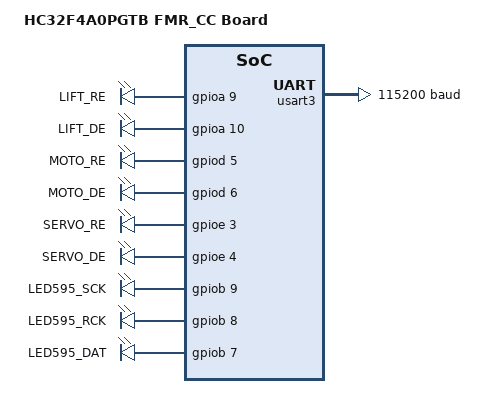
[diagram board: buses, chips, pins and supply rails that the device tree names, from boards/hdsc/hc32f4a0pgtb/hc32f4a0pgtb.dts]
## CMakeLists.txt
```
# SPDX-License-Identifier: Apache-2.0

cmake_minimum_required(VERSION 3.20.0)

# Point Zephyr to our out-of-tree SoC, board, and DTS definitions
list(APPEND SOC_ROOT ${CMAKE_CURRENT_SOURCE_DIR})
list(APPEND BOARD_ROOT ${CMAKE_CURRENT_SOURCE_DIR})
list(APPEND DTS_ROOT ${CMAKE_CURRENT_SOURCE_DIR})

find_package(Zephyr REQUIRED HINTS $ENV{ZEPHYR_BASE})
project(hc32f_demo)

if(CONFIG_BOARD_HC32F460PETB)
	# F460 demo: LED blink + buttons + shell driver tests
	target_sources(app PRIVATE src/main.c)
	target_sources(app PRIVATE src/driver_tests.c)
	target_sources_ifdef(CONFIG_SHELL app PRIVATE src/shell_cmds.c)
elseif(CONFIG_BOARD_HC32F4A0PGTB)
	# F4A0 smoke test: printk over USART3 console
	target_sources(app PRIVATE src/main_f4a0_smoke.c)
endif()
```

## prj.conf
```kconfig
# SPDX-License-Identifier: Apache-2.0

CONFIG_GPIO=y
CONFIG_SERIAL=y
CONFIG_CONSOLE=y
CONFIG_UART_CONSOLE=y
CONFIG_PRINTK=y
CONFIG_LOG=y

# HC32F460 specific
CONFIG_ARM_MPU=n
CONFIG_HW_STACK_PROTECTION=n
CONFIG_DYNAMIC_INTERRUPTS=y

CONFIG_MAIN_STACK_SIZE=2048
CONFIG_PM=y
CONFIG_SYSTEM_TIMER_LPM_COMPANION_HOOKS=y

# UART interrupt mode (required by shell)
CONFIG_UART_HC32_INTERRUPT=y

# Input subsystem for gpio-keys button
CONFIG_INPUT=y

# Zephyr Shell
CONFIG_SHELL=y
CONFIG_SHELL_BACKEND_SERIAL=y
```

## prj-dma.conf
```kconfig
# SPDX-License-Identifier: Apache-2.0
# DMA mode overlay — use with: west build -b hc32f460petb . -- -DOVERLAY_CONFIG=prj-dma.conf

CONFIG_GPIO=y
CONFIG_SERIAL=y
CONFIG_CONSOLE=y
CONFIG_UART_CONSOLE=y
CONFIG_PRINTK=y
CONFIG_LOG=y

# HC32F460 specific
CONFIG_ARM_MPU=n
CONFIG_HW_STACK_PROTECTION=n
CONFIG_DYNAMIC_INTERRUPTS=y

CONFIG_MAIN_STACK_SIZE=2048
CONFIG_PM=y
CONFIG_SYSTEM_TIMER_LPM_COMPANION_HOOKS=y

# UART DMA mode (mutually exclusive with interrupt mode)
CONFIG_UART_HC32_DMA=y

# Input subsystem for gpio-keys button
CONFIG_INPUT=y

# Zephyr Shell (async backend for DMA)
CONFIG_SHELL=y
CONFIG_SHELL_BACKEND_SERIAL=y
CONFIG_SHELL_ASYNC_API=y
```

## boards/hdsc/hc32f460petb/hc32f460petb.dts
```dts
/*
 * SPDX-License-Identifier: Apache-2.0
 *
 * HC32F460PETB board devicetree
 *
 * Hardware:
 *   LED3: PD10 (active-low)
 *   LED4: PE15 (active-low)
 *   BTN1: PE2  (active-low, internal pull-up)
 *   USART1: PA9(TX)/PA10(RX), 115200, DAPLink VCP
 */

/dts-v1/;
#include <arm/hdsc/hc32f460.dtsi>
#include <zephyr/dt-bindings/input/input-event-codes.h>
#include <zephyr/dt-bindings/pinctrl/hc32-pinctrl.h>

/ {
	model = "HC32F460PETB custom board";
	compatible = "hdsc,hc32f460petb";

	chosen {
		zephyr,console = &usart1;
		zephyr,shell-uart = &usart1;
		zephyr,sram = &sram0;
		zephyr,flash = &flash0;
	};

	leds: leds {
		compatible = "gpio-leds";

		led3: led_3 {
			gpios = <&gpiod 10 GPIO_ACTIVE_LOW>;
			label = "LED3";
		};

		led4: led_4 {
			gpios = <&gpioe 15 GPIO_ACTIVE_LOW>;
			label = "LED4";
		};
	};

	gpio_keys {
		compatible = "gpio-keys";

		btn1: button_1 {
			gpios = <&gpioe 2 (GPIO_ACTIVE_LOW | GPIO_PULL_UP)>;
			label = "BTN1";
			zephyr,code = <INPUT_KEY_0>;
		};
	};

	aliases {
		led0 = &led3;
		led1 = &led4;
		sw0 = &btn1;
		counter0 = &tmra1_counter;
		watchdog0 = &wdt0;
		watchdog1 = &swdt0;
		wwdg0 = &wdt0;
		iwdg0 = &swdt0;
	};
};

&pinctrl {
	usart1_default: usart1_default {
		group1 {
			pinmux = <HC32_PINMUX(HC32_PORT_A, 9, HC32_FUNC_USART1_TX)>,
				 <HC32_PINMUX(HC32_PORT_A, 10, HC32_FUNC_USART1_RX)>;
			bias-pull-up;
		};
	};

	usart1_sleep: usart1_sleep {
		group1 {
			pinmux = <HC32_PINMUX(HC32_PORT_A, 9, HC32_FUNC_GPIO)>,
				 <HC32_PINMUX(HC32_PORT_A, 10, HC32_FUNC_GPIO)>;
			bias-disable;
		};
	};
};

&gpioa {
	status = "okay";
};

&gpiod {
	status = "okay";
};

&gpioe {
	status = "okay";
};

&usart1 {
	current-speed = <115200>;
	pinctrl-0 = <&usart1_default>;
	pinctrl-1 = <&usart1_sleep>;
	pinctrl-names = "default", "sleep";
	status = "okay";
};

&tmra1_counter {
	status = "okay";
};

&wdt0 {
	status = "okay";
};

&swdt0 {
	reset-on-timeout;
	run-in-sleep;
	status = "okay";
};
```

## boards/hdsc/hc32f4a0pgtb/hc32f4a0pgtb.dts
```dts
/*
 * SPDX-License-Identifier: Apache-2.0
 *
 * HC32F4A0PGTB FMR_CC Control Board
 *
 * Hardware map (from FMR_CC src/io.c):
 *   USART1 IMU    : PD10(TX) PD11(RX)
 *   USART2 WBUS   : PD9(TX)  PD8(RX)   100k 8E2 inverted SBUS
 *   USART3 Debug  : PE15(TX) PE14(RX)  console
 *   USART5 Lift485: PA11(TX) PA8(RX)   RE=PA9  DE=PA10
 *   USART6 Motor  : PD7(TX)  PD4(RX)   RE=PD5  DE=PD6
 *   USART7 Servo  : PE5(TX)  PE2(RX)   RE=PE3  DE=PE4
 *   595 LED shift : SCK=PB9  RCK=PB8   DAT=PB7
 *   Battery ADC   : PA0 (ADC1 CH0)
 *   USB HS        : VBUS=PB13 DM=PB14 DP=PB15
 */

/dts-v1/;
#include <arm/hdsc/hc32f4a0.dtsi>
#include <zephyr/dt-bindings/input/input-event-codes.h>
#include <zephyr/dt-bindings/pinctrl/hc32-pinctrl.h>

/ {
	model = "HC32F4A0PGTB FMR_CC Board";
	compatible = "hdsc,hc32f4a0pgtb";

	chosen {
		zephyr,console = &usart3;
		zephyr,shell-uart = &usart3;
		zephyr,sram = &sram0;
		zephyr,flash = &flash0;
	};

	aliases {
		watchdog0 = &wdt0;
		watchdog1 = &swdt0;
	};

	/* RS485 direction-control GPIOs (used by the app via gpio-leds-like
	 * nodes or directly through DT_NODELABEL/GPIO_DT_SPEC_GET).
	 */
	rs485_ctrl: rs485-ctrl {
		compatible = "gpio-leds";

		lift_re: lift_re {
			gpios = <&gpioa 9 GPIO_ACTIVE_HIGH>;
			label = "LIFT_RE";
		};
		lift_de: lift_de {
			gpios = <&gpioa 10 GPIO_ACTIVE_HIGH>;
			label = "LIFT_DE";
		};
		moto_re: moto_re {
			gpios = <&gpiod 5 GPIO_ACTIVE_HIGH>;
			label = "MOTO_RE";
		};
		moto_de: moto_de {
			gpios = <&gpiod 6 GPIO_ACTIVE_HIGH>;
			label = "MOTO_DE";
		};
		servo_re: servo_re {
			gpios = <&gpioe 3 GPIO_ACTIVE_HIGH>;
			label = "SERVO_RE";
		};
		servo_de: servo_de {
			gpios = <&gpioe 4 GPIO_ACTIVE_HIGH>;
			label = "SERVO_DE";
		};
	};

	/* 74HC595 LED shift-register: SCK=PB9, RCK=PB8, DAT=PB7 */
	led_595: led-595 {
		compatible = "gpio-leds";

		led_sck: led_sck {
			gpios = <&gpiob 9 GPIO_ACTIVE_HIGH>;
			label = "LED595_SCK";
		};
		led_rck: led_rck {
			gpios = <&gpiob 8 GPIO_ACTIVE_HIGH>;
			label = "LED595_RCK";
		};
		led_dat: led_dat {
			gpios = <&gpiob 7 GPIO_ACTIVE_HIGH>;
			label = "LED595_DAT";
		};
	};
};

&pinctrl {
	/* USART3 - Debug console: PE15 TX, PE14 RX */
	usart3_default: usart3_default {
		group1 {
			pinmux = <HC32_PINMUX(HC32_PORT_E, 15, HC32_FUNC_USART3_TX)>,
				 <HC32_PINMUX(HC32_PORT_E, 14, HC32_FUNC_USART3_RX)>;
			bias-pull-up;
		};
	};

	/* USART1 - IMU: PD10 TX, PD11 RX */
	usart1_default: usart1_default {
		group1 {
			pinmux = <HC32_PINMUX(HC32_PORT_D, 10, HC32_FUNC_USART1_TX)>,
				 <HC32_PINMUX(HC32_PORT_D, 11, HC32_FUNC_USART1_RX)>;
			bias-pull-up;
		};
	};

	/* USART2 - WBUS: PD9 TX, PD8 RX */
	usart2_default: usart2_default {
		group1 {
			pinmux = <HC32_PINMUX(HC32_PORT_D, 9, HC32_FUNC_USART2_TX)>,
				 <HC32_PINMUX(HC32_PORT_D, 8, HC32_FUNC_USART2_RX)>;
			bias-pull-up;
		};
	};

	/* USART5 - 485 Lift: PA11 TX, PA8 RX */
	usart5_default: usart5_default {
		group1 {
			pinmux = <HC32_PINMUX(HC32_PORT_A, 11, HC32_FUNC_USART5_TX)>,
				 <HC32_PINMUX(HC32_PORT_A, 8,  HC32_FUNC_USART5_RX)>;
			bias-pull-up;
		};
	};

	/* USART6 - Motor: PD7 TX, PD4 RX */
	usart6_default: usart6_default {
		group1 {
			pinmux = <HC32_PINMUX(HC32_PORT_D, 7, HC32_FUNC_USART6_TX)>,
				 <HC32_PINMUX(HC32_PORT_D, 4, HC32_FUNC_USART6_RX)>;
			bias-pull-up;
		};
	};

	/* USART7 - Servo: PE5 TX, PE2 RX */
	usart7_default: usart7_default {
		group1 {
			pinmux = <HC32_PINMUX(HC32_PORT_E, 5, HC32_FUNC_USART7_TX)>,
				 <HC32_PINMUX(HC32_PORT_E, 2, HC32_FUNC_USART7_RX)>;
			bias-pull-up;
		};
	};
};

&gpioa { status = "okay"; };
&gpiob { status = "okay"; };
&gpiod { status = "okay"; };
&gpioe { status = "okay"; };

&usart3 {
	current-speed = <115200>;
	pinctrl-0 = <&usart3_default>;
	pinctrl-names = "default";
	status = "okay";
};
```

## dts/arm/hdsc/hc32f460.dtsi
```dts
/*
 * SPDX-License-Identifier: Apache-2.0
 *
 * HC32F460 SoC devicetree include
 *
 * Memory map:
 *   Flash: 0x00000000, 512K
 *   SRAM:  0x1FFF8000, 192K (188K general + 4K ret_ram)
 */

#include <arm/armv7-m.dtsi>
#include <zephyr/dt-bindings/gpio/gpio.h>
#include <mem.h>

/ {
	compatible = "hdsc,hc32f460";

	chosen {
		zephyr,flash-controller = &flash_controller;
	};

	cpus {
		#address-cells = <1>;
		#size-cells = <0>;
		cpu0: cpu@0 {
			device_type = "cpu";
			compatible = "arm,cortex-m4f";
			reg = <0>;
			clock-frequency = <200000000>; /* HXT 8 MHz -> PLL 200 MHz */
			cpu-power-states = <&runtime_idle &suspend_to_idle &suspend_to_ram>;
		};
	};

	power-states {
		runtime_idle: runtime-idle {
			compatible = "zephyr,power-state";
			power-state-name = "runtime-idle";
			zephyr,pm-device-disabled;
			min-residency-us = <0>;
			exit-latency-us = <1>;
		};

		suspend_to_idle: suspend-to-idle {
			compatible = "zephyr,power-state";
			power-state-name = "suspend-to-idle";
			zephyr,pm-device-disabled;
			min-residency-us = <50>;
			exit-latency-us = <10>;
		};

		suspend_to_ram: suspend-to-ram {
			compatible = "zephyr,power-state";
			power-state-name = "suspend-to-ram";
			zephyr,pm-device-disabled;
			min-residency-us = <1000>;
			exit-latency-us = <200>;
		};
	};

	pinctrl: pin-controller {
		compatible = "hdsc,hc32-pinctrl";
		status = "okay";
	};

	sram0: memory@1fff8000 {
		compatible = "mmio-sram";
		reg = <0x1FFF8000 DT_SIZE_K(192)>;
	};

	soc {
		clk: clock-controller@40054000 {
			compatible = "hdsc,hc32-clock";
			reg = <0x40054000 0x400>;
			#clock-cells = <2>;
			clock-frequency = <200000000>;
			hxt-frequency = <8000000>;
			lxt-frequency = <32768>;
			mrc-frequency = <8000000>;
			pll-m = <1>;
			pll-n = <50>;
			pll-p = <2>;
			pll-q = <2>;
			pll-r = <2>;
			status = "okay";
		};

		flash_controller: flash-controller@40010400 {
			compatible = "hdsc,hc32-flash-controller";
			reg = <0x40010400 0x400>;
			#address-cells = <1>;
			#size-cells = <1>;

			flash0: flash@0 {
				compatible = "soc-nv-flash";
				reg = <0x00000000 DT_SIZE_K(512)>;
			};
		};

		gpioa: gpio@40053801 {
			compatible = "hdsc,hc32-gpio";
			reg = <0x40053800 0x800>;
			gpio-controller;
			#gpio-cells = <2>;
			port-index = <0>;  /* Port A */
			status = "disabled";
		};

		gpiob: gpio@40053802 {
			compatible = "hdsc,hc32-gpio";
			reg = <0x40053800 0x800>;
			gpio-controller;
			#gpio-cells = <2>;
			port-index = <1>;  /* Port B */
			status = "disabled";
		};

		gpioc: gpio@40053803 {
			compatible = "hdsc,hc32-gpio";
			reg = <0x40053800 0x800>;
			gpio-controller;
			#gpio-cells = <2>;
			port-index = <2>;  /* Port C */
			status = "disabled";
		};

		gpiod: gpio@40053804 {
			compatible = "hdsc,hc32-gpio";
			reg = <0x40053800 0x800>;
			gpio-controller;
			#gpio-cells = <2>;
			port-index = <3>;  /* Port D */
			status = "disabled";
		};

		gpioe: gpio@40053805 {
			compatible = "hdsc,hc32-gpio";
			reg = <0x40053800 0x800>;
			gpio-controller;
			#gpio-cells = <2>;
			port-index = <4>;  /* Port E */
			status = "disabled";
		};

		usart1: serial@4001d000 {
			compatible = "hdsc,hc32-usart";
			reg = <0x4001D000 0x400>;
			clocks = <&clk 1 24>;
			status = "disabled";
		};

		usart2: serial@4001d400 {
			compatible = "hdsc,hc32-usart";
			reg = <0x4001D400 0x400>;
			clocks = <&clk 1 25>;
			status = "disabled";
		};

		wdt0: watchdog@40049000 {
			compatible = "hdsc,hc32-wdt";
			reg = <0x40049000 0x400>;
			clocks = <&clk 0x15 0>; /* PCLK3 rate-only selector */
			interrupts = <24 1>;
			int-src = <439>;
			status = "disabled";
		};

		swdt0: watchdog@40049400 {
			compatible = "hdsc,hc32-swdt";
			reg = <0x40049400 0x400>;
			interrupts = <25 1>;
			int-src = <87>;
			counter-cycles = <16384>;
			clock-divider = <16>;
			status = "disabled";
		};

		tmra1_counter: counter@40015000 {
			compatible = "hdsc,hc32-tmra-counter";
			reg = <0x40015000 0x400>;
			clocks = <&clk 2 2>;
			clock-prescaler = <1024>;
			interrupts = <22 1>, <23 1>;
			interrupt-names = "ovf", "cmp";
			int-src-ovf = <256>;
			int-src-cmp = <258>;
			status = "disabled";
		};
	};
};

&nvic {
	arm,num-irq-priority-bits = <4>;
};
```

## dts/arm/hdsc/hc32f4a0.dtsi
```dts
/*
 * SPDX-License-Identifier: Apache-2.0
 *
 * HC32F4A0 SoC devicetree include
 *
 * Memory map (HC32F4A0PGTB, LQFP100 / 2MB / 512KB SRAM):
 *   Flash:     0x00000000, 2 MB
 *   SRAMH:     0x1FFE0000, 128 KB (cache-able)
 *   SRAM1:     0x20000000, 240 KB
 *   SRAM2:     0x2003C000, 16 KB
 *   SRAM3:     0x20040000, 108 KB
 *   SRAM_RET:  0x200F0000, 4 KB
 * This DTSI exposes a single general-purpose SRAM region (SRAM1+SRAM2+SRAM3,
 * contiguous 364 KB starting at 0x20000000) for Zephyr. SRAMH and Ret-SRAM
 * can be described by board overlays if needed.
 */

#include <arm/armv7-m.dtsi>
#include <zephyr/dt-bindings/gpio/gpio.h>
#include <mem.h>

/ {
	compatible = "hdsc,hc32f4a0";

	chosen {
		zephyr,flash-controller = &flash_controller;
	};

	cpus {
		#address-cells = <1>;
		#size-cells = <0>;
		cpu0: cpu@0 {
			device_type = "cpu";
			compatible = "arm,cortex-m4f";
			reg = <0>;
			clock-frequency = <240000000>; /* HXT 8 MHz -> PLL 240 MHz */
			cpu-power-states = <&runtime_idle &suspend_to_idle &suspend_to_ram>;
		};
	};

	power-states {
		runtime_idle: runtime-idle {
			compatible = "zephyr,power-state";
			power-state-name = "runtime-idle";
			zephyr,pm-device-disabled;
			min-residency-us = <0>;
			exit-latency-us = <1>;
		};

		suspend_to_idle: suspend-to-idle {
			compatible = "zephyr,power-state";
			power-state-name = "suspend-to-idle";
			zephyr,pm-device-disabled;
			min-residency-us = <50>;
			exit-latency-us = <10>;
		};

		suspend_to_ram: suspend-to-ram {
			compatible = "zephyr,power-state";
			power-state-name = "suspend-to-ram";
			zephyr,pm-device-disabled;
			min-residency-us = <1000>;
			exit-latency-us = <200>;
		};
	};

	pinctrl: pin-controller {
		compatible = "hdsc,hc32-pinctrl";
		status = "okay";
	};

	/* General-purpose SRAM: SRAM1 (240K) + SRAM2 (16K) + SRAM3 (108K)
	 * are address-contiguous starting at 0x20000000 (HC32F4A0 RM §4.2).
	 */
	sram0: memory@20000000 {
		compatible = "mmio-sram";
		reg = <0x20000000 DT_SIZE_K(364)>;
	};

	soc {
		clk: clock-controller@4004c400 {
			compatible = "hdsc,hc32-clock";
			reg = <0x4004C400 0x400>;
			#clock-cells = <2>;
			clock-frequency = <240000000>;
			hxt-frequency = <8000000>;
			lxt-frequency = <32768>;
			mrc-frequency = <8000000>;
			/* PLL: fvco = (HXT/M) * N = 8/1 * 60 = 480 MHz
			 * sysclk = fvco / P = 480/2 = 240 MHz
			 */
			pll-m = <1>;
			pll-n = <60>;
			pll-p = <2>;
			pll-q = <2>;
			pll-r = <2>;
			status = "okay";
		};

		flash_controller: flash-controller@40010400 {
			compatible = "hdsc,hc32-flash-controller";
			reg = <0x40010400 0x400>;
			#address-cells = <1>;
			#size-cells = <1>;

			flash0: flash@0 {
				compatible = "soc-nv-flash";
				reg = <0x00000000 DT_SIZE_M(2)>;
			};
		};

		gpioa: gpio@40053801 {
			compatible = "hdsc,hc32-gpio";
			reg = <0x40053800 0x800>;
			gpio-controller;
			#gpio-cells = <2>;
			port-index = <0>;  /* Port A */
			status = "disabled";
		};

		gpiob: gpio@40053802 {
			compatible = "hdsc,hc32-gpio";
			reg = <0x40053800 0x800>;
			gpio-controller;
			#gpio-cells = <2>;
			port-index = <1>;  /* Port B */
			status = "disabled";
		};

		gpioc: gpio@40053803 {
			compatible = "hdsc,hc32-gpio";
			reg = <0x40053800 0x800>;
			gpio-controller;
			#gpio-cells = <2>;
			port-index = <2>;  /* Port C */
			status = "disabled";
		};

		gpiod: gpio@40053804 {
			compatible = "hdsc,hc32-gpio";
			reg = <0x40053800 0x800>;
			gpio-controller;
			#gpio-cells = <2>;
			port-index = <3>;  /* Port D */
			status = "disabled";
		};

		gpioe: gpio@40053805 {
			compatible = "hdsc,hc32-gpio";
			reg = <0x40053800 0x800>;
			gpio-controller;
			#gpio-cells = <2>;
			port-index = <4>;  /* Port E */
			status = "disabled";
		};

		gpiof: gpio@40053806 {
			compatible = "hdsc,hc32-gpio";
			reg = <0x40053800 0x800>;
			gpio-controller;
			#gpio-cells = <2>;
			port-index = <5>;
			status = "disabled";
		};

		gpiog: gpio@40053807 {
			compatible = "hdsc,hc32-gpio";
			reg = <0x40053800 0x800>;
			gpio-controller;
			#gpio-cells = <2>;
			port-index = <6>;
			status = "disabled";
		};

		gpioh: gpio@40053808 {
			compatible = "hdsc,hc32-gpio";
			reg = <0x40053800 0x800>;
			gpio-controller;
			#gpio-cells = <2>;
			port-index = <7>;
			status = "disabled";
		};

		gpioi: gpio@40053809 {
			compatible = "hdsc,hc32-gpio";
			reg = <0x40053800 0x800>;
			gpio-controller;
			#gpio-cells = <2>;
			port-index = <8>;
			status = "disabled";
		};

		/* --- USARTs --- clocks=<&clk FCG_BUS FCG_BIT>
		 * On HC32F4A0 USART1..USART10 are in FCG3, bits 20..29.
		 */
		usart1: serial@4001cc00 {
			compatible = "hdsc,hc32-usart";
			reg = <0x4001CC00 0x400>;
			clocks = <&clk 3 20>;
			status = "disabled";
		};

		usart2: serial@4001d000 {
			compatible = "hdsc,hc32-usart";
			reg = <0x4001D000 0x400>;
			clocks = <&clk 3 21>;
			status = "disabled";
		};

		usart3: serial@4001d400 {
			compatible = "hdsc,hc32-usart";
			reg = <0x4001D400 0x400>;
			clocks = <&clk 3 22>;
			status = "disabled";
		};

		usart4: serial@4001d800 {
			compatible = "hdsc,hc32-usart";
			reg = <0x4001D800 0x400>;
			clocks = <&clk 3 23>;
			status = "disabled";
		};

		usart5: serial@4001dc00 {
			compatible = "hdsc,hc32-usart";
			reg = <0x4001DC00 0x400>;
			clocks = <&clk 3 24>;
			status = "disabled";
		};

		usart6: serial@40020c00 {
			compatible = "hdsc,hc32-usart";
			reg = <0x40020C00 0x400>;
			clocks = <&clk 3 25>;
			status = "disabled";
		};

		usart7: serial@40021000 {
			compatible = "hdsc,hc32-usart";
			reg = <0x40021000 0x400>;
			clocks = <&clk 3 26>;
			status = "disabled";
		};

		usart8: serial@40021400 {
			compatible = "hdsc,hc32-usart";
			reg = <0x40021400 0x400>;
			clocks = <&clk 3 27>;
			status = "disabled";
		};

		usart9: serial@40021800 {
			compatible = "hdsc,hc32-usart";
			reg = <0x40021800 0x400>;
			clocks = <&clk 3 28>;
			status = "disabled";
		};

		usart10: serial@40021c00 {
			compatible = "hdsc,hc32-usart";
			reg = <0x40021C00 0x400>;
			clocks = <&clk 3 29>;
			status = "disabled";
		};

		wdt0: watchdog@40049000 {
			compatible = "hdsc,hc32-wdt";
			reg = <0x40049000 0x400>;
			clocks = <&clk 0x15 0>;
			interrupts = <24 1>;
			int-src = <439>;
			status = "disabled";
		};

		swdt0: watchdog@40049400 {
			compatible = "hdsc,hc32-swdt";
			reg = <0x40049400 0x400>;
			interrupts = <25 1>;
			int-src = <87>;
			counter-cycles = <16384>;
			clock-divider = <16>;
			status = "disabled";
		};

		tmra1_counter: counter@4003a000 {
			compatible = "hdsc,hc32-tmra-counter";
			reg = <0x4003A000 0x400>;
			clocks = <&clk 2 2>;
			clock-prescaler = <1024>;
			interrupts = <22 1>, <23 1>;
			interrupt-names = "ovf", "cmp";
			int-src-ovf = <256>;
			int-src-cmp = <258>;
			status = "disabled";
		};
	};
};

&nvic {
	arm,num-irq-priority-bits = <4>;
};
```

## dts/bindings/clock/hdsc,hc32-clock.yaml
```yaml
# SPDX-License-Identifier: Apache-2.0

description: HC32F460 clock controller

compatible: "hdsc,hc32-clock"

include: [base.yaml, clock-controller.yaml]

properties:
  reg:
    required: true

  "#clock-cells":
    const: 2

  clock-frequency:
    type: int
    required: true
    description: Default system clock frequency after initialization.

  hxt-frequency:
    type: int
    required: true
    description: External high-speed crystal frequency in Hz.

  lxt-frequency:
    type: int
    default: 32768
    description: External low-speed crystal frequency in Hz.

  mrc-frequency:
    type: int
    default: 8000000
    description: Internal medium-speed RC frequency in Hz.

  pll-m:
    type: int
    required: true

  pll-n:
    type: int
    required: true

  pll-p:
    type: int
    required: true

  pll-q:
    type: int
    required: true

  pll-r:
    type: int
    required: true

clock-cells:
  - bus
  - bit
```

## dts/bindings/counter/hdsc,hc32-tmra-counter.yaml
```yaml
# SPDX-License-Identifier: Apache-2.0

description: HC32F460 TMRA counter

compatible: "hdsc,hc32-tmra-counter"

include: base.yaml

properties:
  reg:
    required: true

  clocks:
    required: true

  interrupts:
    required: true

  interrupt-names:
    required: true

  clock-prescaler:
    type: int
    required: true
    enum:
      - 1
      - 2
      - 4
      - 8
      - 16
      - 32
      - 64
      - 128
      - 256
      - 512
      - 1024
    description: TMRA software clock divider applied to PCLK1.

  int-src-ovf:
    type: int
    required: true
    description: HC32 INTC source number routed to the overflow IRQ.

  int-src-cmp:
    type: int
    required: true
    description: HC32 INTC source number routed to the compare IRQ.
```

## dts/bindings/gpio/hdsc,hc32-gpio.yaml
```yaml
# SPDX-License-Identifier: Apache-2.0

description: HC32F460 GPIO controller

compatible: "hdsc,hc32-gpio"

include: [gpio-controller.yaml, base.yaml]

properties:
  reg:
    required: true

  port-index:
    type: int
    required: true
    description: |
      GPIO port index: 0=A, 1=B, 2=C, 3=D, 4=E, etc.

  "#gpio-cells":
    const: 2

gpio-cells:
  - pin
  - flags
```

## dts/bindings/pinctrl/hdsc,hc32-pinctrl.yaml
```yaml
# SPDX-License-Identifier: Apache-2.0

title: HC32F460 pin controller

description: |
  HC32F460 pin control states are described as child nodes below the SoC-level
  pinctrl node. Each state contains one or more groups, and each group provides
  a list of encoded HC32 pinmux values in the `pinmux` property.

compatible: "hdsc,hc32-pinctrl"

include: base.yaml

child-binding:
  description: Pin control state container.
  child-binding:
    description: Group of pins sharing the same configuration flags.
    include: pincfg-node.yaml
    properties:
      pinmux:
        type: array
        required: true
        description: Encoded HC32 pinmux values.
```

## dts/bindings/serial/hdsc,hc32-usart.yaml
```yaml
# SPDX-License-Identifier: Apache-2.0

description: HC32F460 USART peripheral

compatible: "hdsc,hc32-usart"

include: [uart-controller.yaml, pinctrl-device.yaml]

properties:
  reg:
    required: true

  clocks:
    type: phandle-array
    required: true
```

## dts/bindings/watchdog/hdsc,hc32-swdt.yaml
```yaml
# SPDX-License-Identifier: Apache-2.0

description: HC32F460 ICG-configured special watchdog

compatible: "hdsc,hc32-swdt"

include: base.yaml

properties:
  reg:
    required: true

  interrupts:
    required: true

  int-src:
    type: int
    required: true
    description: HC32 INTC peripheral interrupt source number.

  counter-cycles:
    type: int
    required: true
    enum: [256, 4096, 16384, 65536]
    description: Fixed SWDT counter reload value programmed into ICG.

  clock-divider:
    type: int
    required: true
    enum: [1, 16, 32, 64, 128, 256, 2048]
    description: Fixed SWDT divider programmed into ICG.

  reset-on-timeout:
    type: boolean
    description: Use reset mode instead of interrupt mode.

  run-in-sleep:
    type: boolean
    description: Continue counting in sleep/stop mode.
```

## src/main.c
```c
/*
 * SPDX-License-Identifier: Apache-2.0
 *
 * HC32F460PETB Zephyr demo:
 *   - LED blink (PD10/PE15)
 *   - Button via Zephyr input subsystem (PE2, gpio-keys)
 *   - UART console on USART1 (PA9/PA10)
 *   - WDT/SWDT watchdog keepalive
 *   - Zephyr shell with demo commands
 */

#include <zephyr/kernel.h>
#include <zephyr/drivers/gpio.h>
#include <zephyr/sys/printk.h>
#include <zephyr/input/input.h>
#include <hc32_power.h>

#define SLEEP_MS 500

int hc32_run_core_selftests(void);
int hc32_run_timer_selftests(void);
int hc32_run_watchdog_selftests(void);

/* LED0 = LED3 (PD10) */
static const struct gpio_dt_spec led0 = GPIO_DT_SPEC_GET(DT_ALIAS(led0), gpios);
/* LED1 = LED4 (PE15) */
static const struct gpio_dt_spec led1 = GPIO_DT_SPEC_GET(DT_ALIAS(led1), gpios);

/* Button press counter (updated by input callback) */
static volatile uint32_t btn_press_count;

/* Input event callback for gpio-keys */
static void btn_input_cb(struct input_event *evt, void *user_data)
{
	ARG_UNUSED(user_data);

	if (evt->type == INPUT_EV_KEY && evt->value) {
		btn_press_count++;
		printk("[BTN1] pressed (count=%u, code=%u)\n",
		       btn_press_count, evt->code);
	}
}

/* Register callback for all input events from the gpio_keys node */
INPUT_CALLBACK_DEFINE(NULL, btn_input_cb, NULL);

int main(void)
{
	int ret;
	bool led_state = true;
	const struct hc32_power_boot_status *boot = hc32_power_boot_status_get();

	printk("HC32F460 Zephyr demo starting\n");
	printk("USART1: PA9(TX) PA10(RX) @ 115200\n");
	printk("Clock: HXT 8MHz -> PLL 200MHz (PCLK1 100MHz)\n");
	if (boot->power_down_reset) {
		printk("Wake: power-down reset (%s)\n",
		       boot->wakeup_timer ? "WKTM" : "other");
	}

	/* Configure LEDs */
	if (!gpio_is_ready_dt(&led0) || !gpio_is_ready_dt(&led1)) {
		printk("Error: LED GPIO devices not ready\n");
		return -1;
	}

	ret = gpio_pin_configure_dt(&led0, GPIO_OUTPUT_ACTIVE);
	if (ret < 0) {
		printk("Error: failed to configure LED0: %d\n", ret);
		return ret;
	}

	ret = gpio_pin_configure_dt(&led1, GPIO_OUTPUT_INACTIVE);
	if (ret < 0) {
		printk("Error: failed to configure LED1: %d\n", ret);
		return ret;
	}

	printk("LED0 (PD10), LED1 (PE15), BTN1 (PE2) configured\n");
	ret = hc32_run_core_selftests();
	printk("Core self-tests: %s\n", ret == 0 ? "PASS" : "FAIL");
	ret = hc32_run_timer_selftests();
	printk("Timer self-tests: %s\n", ret == 0 ? "PASS" : "FAIL");
	ret = hc32_run_watchdog_selftests();
	printk("Watchdog self-tests: %s\n", ret == 0 ? "PASS" : "FAIL");
	printk("Shell available — type 'help' for commands\n");

	while (1) {
		/* Toggle LEDs alternately */
		gpio_pin_set_dt(&led0, led_state);
		gpio_pin_set_dt(&led1, !led_state);
		led_state = !led_state;

		k_msleep(SLEEP_MS);
	}

	return 0;
}
```

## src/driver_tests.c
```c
/*
 * SPDX-License-Identifier: Apache-2.0
 */

#include <zephyr/sys/printk.h>
#include <zephyr/drivers/counter.h>
#include <zephyr/drivers/watchdog.h>
#include <zephyr/devicetree.h>
#include <zephyr/kernel.h>
#include <hc32_clock.h>
#include <hc32_power.h>
#include <hc32_uart.h>
#include <soc.h>

#include <hc32_ll_clk.h>
#include <hc32_ll_swdt.h>
#include <hc32_ll_wdt.h>

#define GPIO_BASE_ADDR                  0x40053800UL
#define GPIO_PFSR(port, pin)            (GPIO_BASE_ADDR + 0x0402U + (port) * 0x40U + (pin) * 0x04U)

#define TMRA_SELFTEST_TIMEOUT_MS        200
#define TMRA_LATE_TEST_WAIT_US          100
#define TMRA_LATE_GUARD_US              200
#define WATCHDOG_PROGRESS_WAIT_MS       50U
#define WATCHDOG_RELOAD_SETTLE_MS       10U
#define WATCHDOG_KEEPALIVE_MS           1000U
#define HC32_WDT_SELFTEST_MAX_MS        5000U
#define HC32_SWDT_SELFTEST_MAX_MS       ((uint32_t)((((uint64_t)DT_PROP(DT_NODELABEL(swdt0), counter_cycles) * \
						      (uint64_t)DT_PROP(DT_NODELABEL(swdt0), clock_divider) * \
						      1000000ULL / SWDTLRC_VALUE) + 999ULL) / 1000ULL))

static const struct device *const tmra_counter = DEVICE_DT_GET(DT_ALIAS(counter0));
static const struct device *const hc32_wdt = DEVICE_DT_GET(DT_NODELABEL(wdt0));
static const struct device *const hc32_swdt = DEVICE_DT_GET(DT_NODELABEL(swdt0));
static const struct device *const hc32_console = DEVICE_DT_GET(DT_CHOSEN(zephyr_console));
static K_SEM_DEFINE(tmra_test_sem, 0, 8);
static volatile uint32_t tmra_alarm_count;
static volatile uint32_t tmra_top_count;
static volatile uint8_t tmra_alarm_order[2];
static bool hc32_wdt_active;
static bool hc32_swdt_active;
static bool hc32_watchdog_keepalive_started;

static void hc32_watchdog_keepalive(struct k_timer *timer);
K_TIMER_DEFINE(hc32_watchdog_keepalive_timer, hc32_watchdog_keepalive, NULL);

static void tmra_test_reset_state(void)
{
	k_sem_reset(&tmra_test_sem);
	tmra_alarm_count = 0U;
	tmra_top_count = 0U;
	tmra_alarm_order[0] = 0xffU;
	tmra_alarm_order[1] = 0xffU;
}

static void tmra_alarm_test_cb(const struct device *dev, uint8_t chan_id,
			       uint32_t ticks, void *user_data)
{
	ARG_UNUSED(dev);
	ARG_UNUSED(ticks);
	ARG_UNUSED(user_data);

	if (tmra_alarm_count < ARRAY_SIZE(tmra_alarm_order)) {
		tmra_alarm_order[tmra_alarm_count] = chan_id;
	}

	tmra_alarm_count++;
	k_sem_give(&tmra_test_sem);
}

static void tmra_top_test_cb(const struct device *dev, void *user_data)
{
	ARG_UNUSED(dev);
	ARG_UNUSED(user_data);

	tmra_top_count++;
	k_sem_give(&tmra_test_sem);
}

static void hc32_watchdog_keepalive(struct k_timer *timer)
{
	ARG_UNUSED(timer);

	if (hc32_wdt_active) {
		(void)wdt_feed(hc32_wdt, 0);
	}

	if (hc32_swdt_active) {
		(void)wdt_feed(hc32_swdt, 0);
	}
}

static void hc32_watchdog_stop_keepalive(void)
{
	if (!hc32_watchdog_keepalive_started) {
		return;
	}

	k_timer_stop(&hc32_watchdog_keepalive_timer);
	hc32_watchdog_keepalive_started = false;
}

static void hc32_watchdog_start_keepalive(void)
{
	if (hc32_watchdog_keepalive_started ||
	    (!hc32_wdt_active && !hc32_swdt_active)) {
		return;
	}

	k_timer_start(&hc32_watchdog_keepalive_timer,
		      K_MSEC(WATCHDOG_KEEPALIVE_MS),
		      K_MSEC(WATCHDOG_KEEPALIVE_MS));
	hc32_watchdog_keepalive_started = true;
}

static uint16_t hc32_watchdog_get_count(const struct device *dev)
{
	return (dev == hc32_wdt) ? WDT_GetCountValue() : SWDT_GetCountValue();
}

static bool hc32_swdt_count_observable(void)
{
	return CM_SWDT->SR != 0U;
}

static int hc32_watchdog_setup_once(const struct device *dev,
				    const struct wdt_timeout_cfg *cfg,
				    bool *active, const char *label)
{
	int ret;

	if (*active) {
		return 0;
	}

	ret = wdt_install_timeout(dev, cfg);
	if (ret < 0) {
		printk("[TEST] %s: FAIL (install=%d)\n", label, ret);
		return 1;
	}

	ret = wdt_setup(dev, WDT_OPT_PAUSE_HALTED_BY_DBG);
	if (ret < 0) {
		printk("[TEST] %s: FAIL (setup=%d)\n", label, ret);
		return 1;
	}

	*active = true;
	printk("[TEST] %s: PASS\n", label);
	return 0;
}

static int hc32_watchdog_exercise(const char *label, const struct device *dev)
{
	uint16_t before;
	uint16_t after;
	uint16_t reload;
	int ret;

	ret = wdt_feed(dev, 0);
	if (ret < 0) {
		printk("[TEST] %s: FAIL (prime=%d)\n", label, ret);
		return 1;
	}

	k_msleep(WATCHDOG_RELOAD_SETTLE_MS);
	before = hc32_watchdog_get_count(dev);
	k_msleep(WATCHDOG_PROGRESS_WAIT_MS);
	after = hc32_watchdog_get_count(dev);

	ret = wdt_feed(dev, 0);
	if (ret < 0) {
		printk("[TEST] %s: FAIL (reload=%d)\n", label, ret);
		return 1;
	}

	k_msleep(WATCHDOG_RELOAD_SETTLE_MS);
	reload = hc32_watchdog_get_count(dev);

	if (dev == hc32_swdt && before == 0U && after == 0U && reload == 0U &&
	    !hc32_swdt_count_observable()) {
		printk("[TEST] %s: FAIL (inactive: SWDT did not start)\n",
		       label);
		return 1;
	}

	if (!(after < before) || !(reload > after)) {
		printk("[TEST] %s: FAIL (before=%u after=%u reload=%u)\n",
		       label, before, after, reload);
		return 1;
	}

	printk("[TEST] %s: PASS (before=%u after=%u reload=%u)\n",
	       label, before, after, reload);
	return 0;
}

int hc32_run_core_selftests(void)
{
	stc_clock_freq_t freq;
	uint16_t pa9_func;
	uint16_t pa10_func;
	int failures = 0;

	if (CLK_GetClockFreq(&freq) != LL_OK) {
		printk("[TEST] clock-tree: FAIL (CLK_GetClockFreq)\n");
		return 1;
	}

	if (SystemCoreClock != 200000000U ||
	    freq.u32SysclkFreq != 200000000U ||
	    freq.u32HclkFreq != 200000000U ||
	    freq.u32Pclk1Freq != 100000000U ||
	    (CM_CMU->CKSWR & CMU_CKSWR_CKSW) != CLK_SYSCLK_SRC_PLL ||
	    CLK_GetStableStatus(CLK_STB_FLAG_XTAL) != SET ||
	    CLK_GetStableStatus(CLK_STB_FLAG_PLL) != SET) {
		failures++;
		printk("[TEST] clock-tree: FAIL (sys=%u hclk=%u pclk1=%u cksw=%u)\n",
		       freq.u32SysclkFreq, freq.u32HclkFreq, freq.u32Pclk1Freq,
		       (unsigned int)(CM_CMU->CKSWR & CMU_CKSWR_CKSW));
	} else {
		printk("[TEST] clock-tree: PASS (SYSCLK=%u HCLK=%u PCLK1=%u)\n",
		       freq.u32SysclkFreq, freq.u32HclkFreq, freq.u32Pclk1Freq);
	}

	pa9_func = (*(volatile uint16_t *)GPIO_PFSR(0U, 9U)) & 0x3fU;
	pa10_func = (*(volatile uint16_t *)GPIO_PFSR(0U, 10U)) & 0x3fU;

	if (pa9_func != 32U || pa10_func != 33U) {
		failures++;
		printk("[TEST] pinctrl-usart1: FAIL (PA9=%u PA10=%u)\n",
		       pa9_func, pa10_func);
	} else {
		printk("[TEST] pinctrl-usart1: PASS (PA9=%u PA10=%u)\n",
		       pa9_func, pa10_func);
	}

	return failures;
}

int hc32_run_timer_selftests(void)
{
	struct counter_alarm_cfg alarm0 = {
		.callback = tmra_alarm_test_cb,
		.user_data = NULL,
	};
	struct counter_alarm_cfg alarm1 = {
		.callback = tmra_alarm_test_cb,
		.user_data = NULL,
	};
	struct counter_top_cfg top_cfg = {
		.callback = tmra_top_test_cb,
		.user_data = NULL,
	};
	uint32_t freq_hz;
	uint32_t top;
	uint32_t tick_us;
	uint32_t late_guard_ticks;
	int ret;
	int failures = 0;

	if (!device_is_ready(tmra_counter)) {
		printk("[TEST] tmra-counter: FAIL (device not ready)\n");
		return 1;
	}

	freq_hz = counter_get_frequency(tmra_counter);
	top = counter_get_top_value(tmra_counter);

	if (freq_hz == 0U || top != 0xFFFFU) {
		failures++;
		printk("[TEST] tmra-counter-info: FAIL (freq=%u top=%u channels=%u)\n",
		       freq_hz, top, counter_get_num_of_channels(tmra_counter));
	} else {
		printk("[TEST] tmra-counter-info: PASS (freq=%u top=%u channels=%u)\n",
		       freq_hz, top, counter_get_num_of_channels(tmra_counter));
	}

	(void)counter_stop(tmra_counter);
	(void)counter_cancel_channel_alarm(tmra_counter, 0);
	(void)counter_cancel_channel_alarm(tmra_counter, 1);
	top_cfg.ticks = counter_get_max_top_value(tmra_counter);
	top_cfg.callback = NULL;
	top_cfg.user_data = NULL;
	top_cfg.flags = 0U;
	(void)counter_set_top_value(tmra_counter, &top_cfg);
	(void)counter_reset(tmra_counter);

	tmra_test_reset_state();
	ret = counter_start(tmra_counter);
	if (ret == 0) {
		alarm0.ticks = 256U;
		alarm0.flags = 0U;
		ret = counter_set_channel_alarm(tmra_counter, 0, &alarm0);
	}

	if (ret != 0 ||
	    k_sem_take(&tmra_test_sem, K_MSEC(TMRA_SELFTEST_TIMEOUT_MS)) != 0 ||
	    tmra_alarm_count != 1U || tmra_alarm_order[0] != 0U) {
		failures++;
		printk("[TEST] tmra-alarm-rel: FAIL (ret=%d count=%u first=%u)\n",
		       ret, tmra_alarm_count, tmra_alarm_order[0]);
	} else {
		printk("[TEST] tmra-alarm-rel: PASS (chan=%u)\n",
		       tmra_alarm_order[0]);
	}

	(void)counter_stop(tmra_counter);
	(void)counter_cancel_channel_alarm(tmra_counter, 0);
	(void)counter_cancel_channel_alarm(tmra_counter, 1);
	(void)counter_reset(tmra_counter);

	if (counter_get_num_of_channels(tmra_counter) >= 2U) {
		tmra_test_reset_state();
		ret = counter_start(tmra_counter);
		if (ret == 0) {
			top_cfg.ticks = 1024U;
			top_cfg.callback = tmra_top_test_cb;
			top_cfg.user_data = NULL;
			top_cfg.flags = 0U;
			ret = counter_set_top_value(tmra_counter, &top_cfg);
		}
		if (ret == 0) {
			alarm0.ticks = 200U;
			alarm0.flags = 0U;
			ret = counter_set_channel_alarm(tmra_counter, 0, &alarm0);
		}
		if (ret == 0) {
			alarm1.ticks = 400U;
			alarm1.flags = 0U;
			ret = counter_set_channel_alarm(tmra_counter, 1, &alarm1);
		}

		if (ret != 0 ||
		    k_sem_take(&tmra_test_sem, K_MSEC(TMRA_SELFTEST_TIMEOUT_MS)) != 0 ||
		    k_sem_take(&tmra_test_sem, K_MSEC(TMRA_SELFTEST_TIMEOUT_MS)) != 0 ||
		    k_sem_take(&tmra_test_sem, K_MSEC(TMRA_SELFTEST_TIMEOUT_MS)) != 0 ||
		    tmra_alarm_count != 2U || tmra_top_count != 1U ||
		    tmra_alarm_order[0] != 0U || tmra_alarm_order[1] != 1U) {
			failures++;
			printk("[TEST] tmra-top+alarm: FAIL (ret=%d alarms=%u top=%u order=%u,%u)\n",
			       ret, tmra_alarm_count, tmra_top_count,
			       tmra_alarm_order[0], tmra_alarm_order[1]);
		} else {
			printk("[TEST] tmra-top+alarm: PASS (order=%u,%u top=%u)\n",
			       tmra_alarm_order[0], tmra_alarm_order[1], tmra_top_count);
		}
	}

	(void)counter_stop(tmra_counter);
	(void)counter_cancel_channel_alarm(tmra_counter, 0);
	(void)counter_cancel_channel_alarm(tmra_counter, 1);
	(void)counter_reset(tmra_counter);
	top_cfg.ticks = counter_get_max_top_value(tmra_counter);
	top_cfg.callback = NULL;
	top_cfg.user_data = NULL;
	top_cfg.flags = 0U;
	(void)counter_set_top_value(tmra_counter, &top_cfg);

	tmra_test_reset_state();
	late_guard_ticks = counter_us_to_ticks(tmra_counter, TMRA_LATE_GUARD_US);
	if (late_guard_ticks == 0U) {
		late_guard_ticks = 1U;
	}

	ret = counter_set_guard_period(tmra_counter, late_guard_ticks,
				       COUNTER_GUARD_PERIOD_LATE_TO_SET);
	if (ret == 0) {
		ret = counter_start(tmra_counter);
	}
	if (ret == 0) {
		tick_us = counter_ticks_to_us(tmra_counter, 1U);
		if (tick_us == 0U) {
			tick_us = 1U;
		}
		k_busy_wait((2U * tick_us) + TMRA_LATE_TEST_WAIT_US);
		alarm0.ticks = 0U;
		alarm0.flags = COUNTER_ALARM_CFG_ABSOLUTE |
			       COUNTER_ALARM_CFG_EXPIRE_WHEN_LATE;
		ret = counter_set_channel_alarm(tmra_counter, 0, &alarm0);
	}

	if (ret != -ETIME ||
	    k_sem_take(&tmra_test_sem, K_MSEC(TMRA_SELFTEST_TIMEOUT_MS)) != 0 ||
	    tmra_alarm_count != 1U) {
		failures++;
		printk("[TEST] tmra-late-alarm: FAIL (ret=%d count=%u)\n",
		       ret, tmra_alarm_count);
	} else {
		printk("[TEST] tmra-late-alarm: PASS\n");
	}

	(void)counter_stop(tmra_counter);
	(void)counter_cancel_channel_alarm(tmra_counter, 0);
	(void)counter_cancel_channel_alarm(tmra_counter, 1);
	top_cfg.ticks = counter_get_max_top_value(tmra_counter);
	top_cfg.callback = NULL;
	top_cfg.user_data = NULL;
	top_cfg.flags = 0U;
	(void)counter_set_top_value(tmra_counter, &top_cfg);
	(void)counter_reset(tmra_counter);

	return failures;
}

int hc32_run_watchdog_selftests(void)
{
	struct wdt_timeout_cfg wdt_cfg = {
		.window = {
			.min = 0U,
			.max = HC32_WDT_SELFTEST_MAX_MS,
		},
		.callback = NULL,
		.flags = WDT_FLAG_RESET_SOC,
	};
	struct wdt_timeout_cfg swdt_cfg = {
		.window = {
			.min = 0U,
			.max = HC32_SWDT_SELFTEST_MAX_MS,
		},
		.callback = NULL,
		.flags = WDT_FLAG_RESET_SOC,
	};
	int failures = 0;

	if (!device_is_ready(hc32_wdt)) {
		printk("[TEST] wdt-device: FAIL (device not ready)\n");
		failures++;
	}

	if (!device_is_ready(hc32_swdt)) {
		printk("[TEST] swdt-device: FAIL (device not ready)\n");
		failures++;
	}

	if (failures != 0) {
		return failures;
	}

	hc32_watchdog_stop_keepalive();

	failures += hc32_watchdog_setup_once(hc32_wdt, &wdt_cfg,
						     &hc32_wdt_active,
						     "wdt-setup");
	failures += hc32_watchdog_setup_once(hc32_swdt, &swdt_cfg,
						     &hc32_swdt_active,
						     "swdt-setup");

	if (hc32_wdt_active) {
		failures += hc32_watchdog_exercise("wdt-window", hc32_wdt);
	}

	if (hc32_swdt_active) {
		failures += hc32_watchdog_exercise("swdt-iwdg", hc32_swdt);
	}

	hc32_watchdog_start_keepalive();

	return failures;
}

int hc32_run_power_selftests(void)
{
	stc_clock_freq_t freq;
	int ret;
	int failures = 0;

	ret = hc32_power_force_sleep_ms(20U);
	if (ret != 0) {
		failures++;
		printk("[TEST] pm-sleep: FAIL (%d)\n", ret);
	} else {
		printk("[TEST] pm-sleep: PASS\n");
	}

	ret = hc32_clock_set_mode(HC32_CLOCK_MODE_LOW_SPEED);
	if ((ret == 0) && device_is_ready(hc32_console)) {
		ret = hc32_uart_reconfigure(hc32_console);
	}

	if ((ret != 0) ||
	    (CLK_GetClockFreq(&freq) != LL_OK) ||
	    (SystemCoreClock != 8000000U) ||
	    (freq.u32SysclkFreq != 8000000U) ||
	    ((CM_CMU->CKSWR & CMU_CKSWR_CKSW) != CLK_SYSCLK_SRC_MRC)) {
		failures++;
		printk("[TEST] clock-low-speed: FAIL (ret=%d sys=%u src=%u)\n",
		       ret, SystemCoreClock,
		       (unsigned int)(CM_CMU->CKSWR & CMU_CKSWR_CKSW));
	} else {
		printk("[TEST] clock-low-speed: PASS (SYSCLK=%u)\n",
		       freq.u32SysclkFreq);
	}

	ret = hc32_clock_set_mode(HC32_CLOCK_MODE_HIGH_PERFORMANCE);
	if ((ret == 0) && device_is_ready(hc32_console)) {
		ret = hc32_uart_reconfigure(hc32_console);
	}

	if ((ret != 0) ||
	    (CLK_GetClockFreq(&freq) != LL_OK) ||
	    (SystemCoreClock != 200000000U) ||
	    (freq.u32SysclkFreq != 200000000U) ||
	    ((CM_CMU->CKSWR & CMU_CKSWR_CKSW) != CLK_SYSCLK_SRC_PLL)) {
		failures++;
		printk("[TEST] clock-high-speed: FAIL (ret=%d sys=%u src=%u)\n",
		       ret, SystemCoreClock,
		       (unsigned int)(CM_CMU->CKSWR & CMU_CKSWR_CKSW));
	} else {
		printk("[TEST] clock-high-speed: PASS (SYSCLK=%u)\n",
		       freq.u32SysclkFreq);
	}

	ret = hc32_power_force_stop_ms(30U);
	if (ret != 0) {
		failures++;
		printk("[TEST] pm-stop: FAIL (%d)\n", ret);
	} else {
		printk("[TEST] pm-stop: PASS\n");
	}

	return failures;
}
```

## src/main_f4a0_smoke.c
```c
/*
 * SPDX-License-Identifier: Apache-2.0
 *
 * Minimal smoke test for the HC32F4A0PGTB port: print a heartbeat over
 * USART3 (defined as the Zephyr console in the board DTS) every second.
 */

#include <zephyr/kernel.h>
#include <zephyr/sys/printk.h>
#include <zephyr/version.h>

int main(void)
{
	uint32_t n = 0;

	printk("\n*** HC32F4A0PGTB smoke test: Zephyr %s running ***\n",
	       KERNEL_VERSION_STRING);

	while (1) {
		printk("[%u] alive, cpu=%u Hz\n", n++,
		       (unsigned int)sys_clock_hw_cycles_per_sec());
		k_msleep(1000);
	}

	return 0;
}
```
